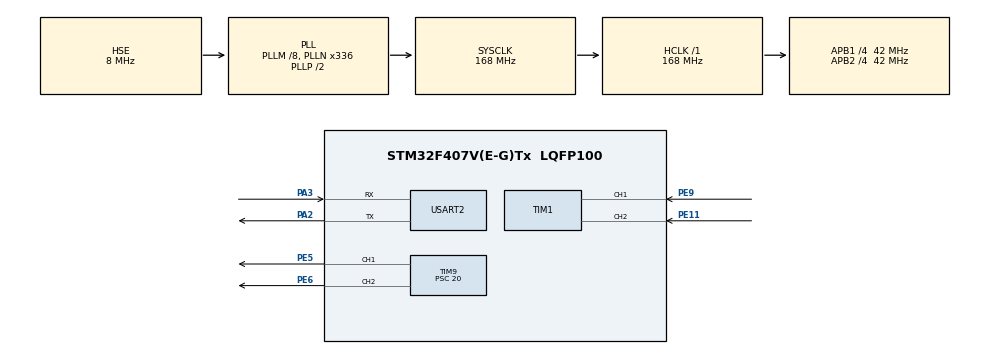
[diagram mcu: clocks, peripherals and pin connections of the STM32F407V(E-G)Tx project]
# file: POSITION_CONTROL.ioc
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Dma.Request0=USART2_TX
Dma.USART2_TX.0.Direction=DMA_MEMORY_TO_PERIPH
Dma.USART2_TX.0.FIFOMode=DMA_FIFOMODE_DISABLE
Dma.USART2_TX.0.Instance=DMA1_Stream6
Dma.USART2_TX.0.MemDataAlignment=DMA_MDATAALIGN_BYTE
Dma.USART2_TX.0.MemInc=DMA_MINC_ENABLE
Dma.USART2_TX.0.Mode=DMA_NORMAL
Dma.USART2_TX.0.PeriphDataAlignment=DMA_PDATAALIGN_BYTE
Dma.USART2_TX.0.PeriphInc=DMA_PINC_DISABLE
Dma.USART2_TX.0.Priority=DMA_PRIORITY_LOW
Mcu.Family=STM32F4
Mcu.Name=STM32F407V(E-G)Tx
Mcu.Package=LQFP100
NVIC.DMA1_Stream6_IRQn=true\:0\:0\:false\:false\:true\:false\:true
NVIC.PriorityGroup=NVIC_PRIORITYGROUP_4
NVIC.TIM3_IRQn=true\:0\:0\:true\:false\:true\:true\:true
NVIC.USART2_IRQn=true\:1\:0\:true\:false\:true\:true\:true
PA13.Mode=Serial_Wire
PA13.Signal=SYS_JTMS-SWDIO
PA14.Mode=Serial_Wire
PA14.Signal=SYS_JTCK-SWCLK
PA2.Mode=Asynchronous
PA2.Signal=USART2_TX
PA3.Mode=Asynchronous
PA3.Signal=USART2_RX
PE11.Signal=S_TIM1_CH2
PE5.Signal=S_TIM9_CH1
PE6.Signal=S_TIM9_CH2
PE9.Signal=S_TIM1_CH1
PH0-OSC_IN.Mode=HSE-External-Oscillator
PH0-OSC_IN.Signal=RCC_OSC_IN
PH1-OSC_OUT.Mode=HSE-External-Oscillator
PH1-OSC_OUT.Signal=RCC_OSC_OUT
ProjectManager.HeapSize=0x200
ProjectManager.StackSize=0x400
ProjectManager.TargetToolchain=MDK-ARM V5.27
RCC.48MHZClocksFreq_Value=84000000
RCC.AHBFreq_Value=168000000
RCC.APB1CLKDivider=RCC_HCLK_DIV4
RCC.APB1Freq_Value=42000000
RCC.APB1TimFreq_Value=84000000
RCC.APB2CLKDivider=RCC_HCLK_DIV4
RCC.APB2Freq_Value=42000000
RCC.APB2TimFreq_Value=84000000
RCC.CortexFreq_Value=168000000
RCC.HCLKFreq_Value=168000000
RCC.HSE_VALUE=8000000
RCC.HSI_VALUE=16000000
RCC.LSE_VALUE=32768
RCC.PLLM=8
RCC.PLLN=336
RCC.PLLSourceVirtual=RCC_PLLSOURCE_HSE
RCC.SYSCLKFreq_VALUE=168000000
RCC.SYSCLKSource=RCC_SYSCLKSOURCE_PLLCLK
RCC.VCOOutputFreq_Value=336000000
SH.S_TIM1_CH1.0=TIM1_CH1,Encoder_Interface
SH.S_TIM1_CH2.0=TIM1_CH2,Encoder_Interface
SH.S_TIM9_CH1.0=TIM9_CH1,PWM Generation1 CH1
SH.S_TIM9_CH2.0=TIM9_CH2,PWM Generation2 CH2
TIM1.EncoderMode=TIM_ENCODERMODE_TI12
TIM3.Period=2999
TIM3.Prescaler=839
TIM9.Channel-PWM\ Generation1\ CH1=TIM_CHANNEL_1
TIM9.Channel-PWM\ Generation2\ CH2=TIM_CHANNEL_2
TIM9.Period=999
TIM9.Prescaler=20
USART2.VirtualMode=VM_ASYNC
VP_TIM3_VS_ClockSourceINT.Mode=Internal
board=custom

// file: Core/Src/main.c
/* USER CODE BEGIN Header */
/**
  ******************************************************************************
  * @file           : main.c
  * @brief          : Main program body
  ******************************************************************************
  * @attention
  *
  * <h2><center>&copy; Copyright (c) 2021 STMicroelectronics.
  * All rights reserved.</center></h2>
  *
  * This software component is licensed by ST under BSD 3-Clause license,
  * the "License"; You may not use this file except in compliance with the
  * License. You may obtain a copy of the License at:
  *                        opensource.org/licenses/BSD-3-Clause
  *
  ******************************************************************************
  */
/* USER CODE END Header */
#include "main.h"

/* USER CODE BEGIN Includes */
#include <stdio.h>
#include <stdint.h>
#include <string.h>
/* USER CODE END Includes */

/* USER CODE BEGIN PTD */
typedef struct {
	float Kp;
	float Ki;
	float Kd;
	float ek_1;
	float I_part;
} PID_t;  //pid struct

enum
{
     ModeIdle = 0, //sleep
     ModePidPos,  //Pid vá»‹ trÃ­
	 ModePPR      //Ä‘o Ä‘á»™ phÃ¢n giáº£i
}ModeEnum;
uint8_t ProcessMode = ModeIdle; //gÃ¡n tráº¡ng thÃ¡i ngá»§ Ä‘áº§u chÆ°Æ¡ng trÃ¬nh
/* USER CODE END PTD */

/* USER CODE BEGIN PD */
#define Ts 0.03f
#define DUTY_50 150 //DUTY FOR GET PPR
#define T_60S 2000
/* USER CODE END PD */

TIM_HandleTypeDef htim1;
TIM_HandleTypeDef htim3;
TIM_HandleTypeDef htim9;

UART_HandleTypeDef huart2;
DMA_HandleTypeDef hdma_usart2_tx;

/* USER CODE BEGIN PV */
PID_t ParaPID;
int32_t EncPos;
int32_t tempPos;
float speed[2];
float u_control;
float setpoint;

char ProcessFlag = 0;
char TXData[40];
char RXData_Buff[40];
uint8_t RXData;
uint8_t RXIndex = 0;
uint8_t SysQuest = 5; //Start = 0, Stop = 1, Reset = 2
uint8_t Temp;
uint16_t rpm = 1;
uint16_t ppr = 1;
char PPRFlag =0;// Flag for get PPR
uint16_t count_60s = 0;// time check ppr
uint8_t EncMode;

/* USER CODE END PV */

void SystemClock_Config(void);
static void MX_GPIO_Init(void);
static void MX_TIM1_Init(void);
static void MX_TIM3_Init(void);
static void MX_TIM9_Init(void);
static void MX_DMA_Init(void);
static void MX_USART2_UART_Init(void);
/* USER CODE BEGIN PFP */
void init_Encx1(void);
void init_Encx4(void);
/* USER CODE END PFP */

/* USER CODE BEGIN 0 */

void read_encoder()
{
	tempPos = (int16_t)(htim1.Instance->CNT);
	EncPos += tempPos;
	htim1.Instance->CNT=0;
}

void GetPPR(uint16_t local_rpm, uint16_t *p_ppr)
{
	u_control = 1;
	if(count_60s == T_60S)
	{
		*p_ppr = EncPos/local_rpm;
		count_60s = 0;
		PPRFlag = 1;
		EncPos = 0;
	}
}

void HAL_TIM_PeriodElapsedCallback(TIM_HandleTypeDef *htim)
{

	if(htim->Instance == TIM3)
	{
		read_encoder();
		ProcessFlag=1;
		if(count_60s < T_60S) count_60s +=1;
	}
}

void PID_controller(float SP, float PV, PID_t *pid, float *u)
{
	float ek;
	ek = SP - PV;
	pid->I_part += Ts*ek;
	*u = pid->Kp*ek + pid->Ki*pid->I_part + pid->Kd*(ek-pid->ek_1)/Ts;
	pid->ek_1 = ek;
}

void xuat_PWM(float duty);

void process_RXData(void)
{
	if(RXData_Buff[0] == '0')
	{
			sscanf(RXData_Buff, "%u %u %u", &Temp, &SysQuest, &ProcessMode);
		if (SysQuest == 0)
		{

		}
		if (SysQuest == 1)
		{
			EncPos = 0;
			u_control = 0;

		}

		if (SysQuest == 2)
		{
			memset(&ParaPID, 0, sizeof(PID_t));
			memset(speed, 0, strlen(TXData));
			setpoint = 0;
			EncPos = 0;
			u_control = 0;
		}
	}

	if(RXData_Buff[0] == '1')
	{
		sscanf(RXData_Buff, "%u %f %f %f %f", &Temp, &ParaPID.Kp, &ParaPID.Ki, &ParaPID.Kd, &setpoint);
  		sprintf(TXData, "%u %.2f %.4f %.2f %.2f\n", 2, ParaPID.Kp, ParaPID.Ki, ParaPID.Kd, setpoint);
		HAL_UART_Transmit_DMA(&huart2, (uint8_t *)TXData, strlen(TXData));
	}
	if(RXData_Buff[0] == '2')
	{
		sscanf(RXData_Buff, "%u %u %u %u", &Temp, &rpm, &ppr, &ProcessMode);
		sprintf(TXData, "%u\n", 3);
		HAL_UART_Transmit_DMA(&huart2, (uint8_t *)TXData, strlen(TXData));
		EncPos = 0;
	}
	if(RXData_Buff[0] == '3')
		{
			sscanf(RXData_Buff, "%u %u %u", &Temp, &EncMode, &ProcessMode);
			if( EncMode == 1)
			{
				sprintf(TXData, "%u\n", 4);
				HAL_UART_Transmit_DMA(&huart2, (uint8_t *)TXData, strlen(TXData));
				init_Encx1();// code for func Encx1
			}
			if( EncMode == 4)
			{
				sprintf(TXData, "%u\n", 5);
				HAL_UART_Transmit_DMA(&huart2, (uint8_t *)TXData, strlen(TXData));
				init_Encx4();// code for func Encx4

			}
		}

//	if(TXData[strlen(TXData)-1] == '\n')
//		{
//		memset(TXData, 0, 20);
//		}

}

void HAL_UART_RxCpltCallback(UART_HandleTypeDef *huart)
{
	if(huart->Instance == huart2.Instance)
	{
		if(RXData != '\n') //line feed Ascii
		{
			RXData_Buff[RXIndex++] = RXData; //Save data in Rxbuff
		}
		else if (RXData == '\n')
		{
			RXIndex = 0;
			process_RXData();

		}
		HAL_UART_Receive_IT(&huart2, &RXData, 1);
	}
}

/* USER CODE END 0 */

int main(void)
{

  /* MCU Configuration--------------------------------------------------------*/

  /* Reset of all peripherals, Initializes the Flash interface and the Systick. */
  HAL_Init();

  /* Configure the system clock */
  SystemClock_Config();

  /* Initialize all configured peripherals */
  MX_GPIO_Init();
  MX_TIM1_Init();
  MX_TIM3_Init();
  MX_TIM9_Init();
  MX_DMA_Init();
  MX_USART2_UART_Init();
  /* USER CODE BEGIN 2 */
	HAL_TIM_Base_Start_IT(&htim3);
	HAL_TIM_Encoder_Start(&htim1, TIM_CHANNEL_1 | TIM_CHANNEL_2);
	HAL_TIM_PWM_Start(&htim9, TIM_CHANNEL_1);
	HAL_TIM_PWM_Start(&htim9, TIM_CHANNEL_2);
	HAL_UART_Receive_IT(&huart2, &RXData, 1);

  /* USER CODE END 2 */

  /* Infinite loop */
  while (1)
  {

    /* USER CODE BEGIN 3 */
		xuat_PWM(u_control);
	  if (ProcessFlag)
		  {
			  ProcessFlag = 0;
			  switch(ProcessMode)
			  {
				  case ModeIdle:
					u_control = 0;
					  break;
				  case ModePidPos:
					  PID_controller(setpoint,((float)EncPos/ppr*360),&ParaPID, &u_control);
					  sprintf(TXData, "%u %.1f %.2f\n", 0, ((float)EncPos/ppr*360), u_control);
						HAL_UART_Transmit_DMA(&huart2, (uint8_t *)TXData, strlen(TXData));
					  break;
				  case ModePPR:
					  if(ppr == 0)
					  {
					  	GetPPR(rpm, &ppr);
					  	if(PPRFlag)
					  	{
					  		sprintf(TXData, "%u %u\n", 1, ppr);
							HAL_UART_Transmit_DMA(&huart2, (uint8_t *)TXData, strlen(TXData));
					  		PPRFlag = 0;
					  		ProcessMode = ModeIdle;
							EncPos = 0;
					  	}
					  }
					  break;
			  }
		  }
  }
  /* USER CODE END 3 */
}

void SystemClock_Config(void)
{
  RCC_OscInitTypeDef RCC_OscInitStruct = {0};
  RCC_ClkInitTypeDef RCC_ClkInitStruct = {0};

  /** Configure the main internal regulator output voltage
  */
  __HAL_RCC_PWR_CLK_ENABLE();
  __HAL_PWR_VOLTAGESCALING_CONFIG(PWR_REGULATOR_VOLTAGE_SCALE1);
  /** Initializes the RCC Oscillators according to the specified parameters
  * in the RCC_OscInitTypeDef structure.
  */
  RCC_OscInitStruct.OscillatorType = RCC_OSCILLATORTYPE_HSE;
  RCC_OscInitStruct.HSEState = RCC_HSE_ON;
  RCC_OscInitStruct.PLL.PLLState = RCC_PLL_ON;
  RCC_OscInitStruct.PLL.PLLSource = RCC_PLLSOURCE_HSE;
  RCC_OscInitStruct.PLL.PLLM = 8;
  RCC_OscInitStruct.PLL.PLLN = 336;
  RCC_OscInitStruct.PLL.PLLP = RCC_PLLP_DIV2;
  RCC_OscInitStruct.PLL.PLLQ = 4;
  if (HAL_RCC_OscConfig(&RCC_OscInitStruct) != HAL_OK)
  {
    Error_Handler();
  }
  /** Initializes the CPU, AHB and APB buses clocks
  */
  RCC_ClkInitStruct.ClockType = RCC_CLOCKTYPE_HCLK|RCC_CLOCKTYPE_SYSCLK
                              |RCC_CLOCKTYPE_PCLK1|RCC_CLOCKTYPE_PCLK2;
  RCC_ClkInitStruct.SYSCLKSource = RCC_SYSCLKSOURCE_PLLCLK;
  RCC_ClkInitStruct.AHBCLKDivider = RCC_SYSCLK_DIV1;
  RCC_ClkInitStruct.APB1CLKDivider = RCC_HCLK_DIV4;
  RCC_ClkInitStruct.APB2CLKDivider = RCC_HCLK_DIV4;

  if (HAL_RCC_ClockConfig(&RCC_ClkInitStruct, FLASH_LATENCY_5) != HAL_OK)
  {
    Error_Handler();
  }
}

static void MX_TIM1_Init(void)
{

  TIM_Encoder_InitTypeDef sConfig = {0};
  TIM_MasterConfigTypeDef sMasterConfig = {0};

  htim1.Instance = TIM1;
  htim1.Init.Prescaler = 0;
  htim1.Init.CounterMode = TIM_COUNTERMODE_UP;
  htim1.Init.Period = 65535;
  htim1.Init.ClockDivision = TIM_CLOCKDIVISION_DIV1;
  htim1.Init.RepetitionCounter = 0;
  htim1.Init.AutoReloadPreload = TIM_AUTORELOAD_PRELOAD_DISABLE;
  sConfig.EncoderMode = TIM_ENCODERMODE_TI12;
  sConfig.IC1Polarity = TIM_ICPOLARITY_RISING;
  sConfig.IC1Selection = TIM_ICSELECTION_DIRECTTI;
  sConfig.IC1Prescaler = TIM_ICPSC_DIV1;
  sConfig.IC1Filter = 0;
  sConfig.IC2Polarity = TIM_ICPOLARITY_RISING;
  sConfig.IC2Selection = TIM_ICSELECTION_DIRECTTI;
  sConfig.IC2Prescaler = TIM_ICPSC_DIV1;
  sConfig.IC2Filter = 0;
  if (HAL_TIM_Encoder_Init(&htim1, &sConfig) != HAL_OK)
  {
    Error_Handler();
  }
  sMasterConfig.MasterOutputTrigger = TIM_TRGO_RESET;
  sMasterConfig.MasterSlaveMode = TIM_MASTERSLAVEMODE_DISABLE;
  if (HAL_TIMEx_MasterConfigSynchronization(&htim1, &sMasterConfig) != HAL_OK)
  {
    Error_Handler();
  }

}

static void MX_TIM3_Init(void)
{

  TIM_ClockConfigTypeDef sClockSourceConfig = {0};
  TIM_MasterConfigTypeDef sMasterConfig = {0};

  htim3.Instance = TIM3;
  htim3.Init.Prescaler = 839;
  htim3.Init.CounterMode = TIM_COUNTERMODE_UP;
  htim3.Init.Period = 2999;
  htim3.Init.ClockDivision = TIM_CLOCKDIVISION_DIV1;
  htim3.Init.AutoReloadPreload = TIM_AUTORELOAD_PRELOAD_DISABLE;
  if (HAL_TIM_Base_Init(&htim3) != HAL_OK)
  {
    Error_Handler();
  }
  sClockSourceConfig.ClockSource = TIM_CLOCKSOURCE_INTERNAL;
  if (HAL_TIM_ConfigClockSource(&htim3, &sClockSourceConfig) != HAL_OK)
  {
    Error_Handler();
  }
  sMasterConfig.MasterOutputTrigger = TIM_TRGO_RESET;
  sMasterConfig.MasterSlaveMode = TIM_MASTERSLAVEMODE_DISABLE;
  if (HAL_TIMEx_MasterConfigSynchronization(&htim3, &sMasterConfig) != HAL_OK)
  {
    Error_Handler();
  }

}

static void MX_TIM9_Init(void)
{

  TIM_OC_InitTypeDef sConfigOC = {0};

  htim9.Instance = TIM9;
  htim9.Init.Prescaler = 14;
  htim9.Init.CounterMode = TIM_COUNTERMODE_UP;
  htim9.Init.Period = 999;
  htim9.Init.ClockDivision = TIM_CLOCKDIVISION_DIV1;
  htim9.Init.AutoReloadPreload = TIM_AUTORELOAD_PRELOAD_DISABLE;
  if (HAL_TIM_PWM_Init(&htim9) != HAL_OK)
  {
    Error_Handler();
  }
  sConfigOC.OCMode = TIM_OCMODE_PWM1;
  sConfigOC.Pulse = 0;
  sConfigOC.OCPolarity = TIM_OCPOLARITY_HIGH;
  sConfigOC.OCFastMode = TIM_OCFAST_DISABLE;
  if (HAL_TIM_PWM_ConfigChannel(&htim9, &sConfigOC, TIM_CHANNEL_1) != HAL_OK)
  {
    Error_Handler();
  }
  if (HAL_TIM_PWM_ConfigChannel(&htim9, &sConfigOC, TIM_CHANNEL_2) != HAL_OK)
  {
    Error_Handler();
  }
  HAL_TIM_MspPostInit(&htim9);

}

static void MX_USART2_UART_Init(void)
{

  huart2.Instance = USART2;
  huart2.Init.BaudRate = 115200;
  huart2.Init.WordLength = UART_WORDLENGTH_8B;
  huart2.Init.StopBits = UART_STOPBITS_1;
  huart2.Init.Parity = UART_PARITY_NONE;
  huart2.Init.Mode = UART_MODE_TX_RX;
  huart2.Init.HwFlowCtl = UART_HWCONTROL_NONE;
  huart2.Init.OverSampling = UART_OVERSAMPLING_16;
  if (HAL_UART_Init(&huart2) != HAL_OK)
  {
    Error_Handler();
  }

}

static void MX_DMA_Init(void)
{

  /* DMA controller clock enable */
  __HAL_RCC_DMA1_CLK_ENABLE();

  /* DMA interrupt init */
  /* DMA1_Stream6_IRQn interrupt configuration */
  HAL_NVIC_SetPriority(DMA1_Stream6_IRQn, 0, 0);
  HAL_NVIC_EnableIRQ(DMA1_Stream6_IRQn);

}

static void MX_GPIO_Init(void)
{

  /* GPIO Ports Clock Enable */
  __HAL_RCC_GPIOE_CLK_ENABLE();
  __HAL_RCC_GPIOH_CLK_ENABLE();
  __HAL_RCC_GPIOA_CLK_ENABLE();

}

/* USER CODE BEGIN 4 */
	void xuat_PWM(float duty)  //use timer 9 to export PWM, 50KHz
	{
		if (duty > 1) duty = 1;
		else if(duty ==0)  duty =0;
		else if (duty < -1) duty = -1;
		int16_t pwm = duty*500;
		if (pwm>0)
			{
				HAL_GPIO_WritePin(GPIOE, GPIO_PIN_5, GPIO_PIN_RESET);
				__HAL_TIM_SetCompare(&htim9, TIM_CHANNEL_2, pwm);
			}
		else if (pwm == 0)
			{
				__HAL_TIM_SetCompare(&htim9, TIM_CHANNEL_1, 0);
				__HAL_TIM_SetCompare(&htim9, TIM_CHANNEL_2, 0);
			}
		else if (pwm < 0)
			{
				pwm *= -1;
				__HAL_TIM_SetCompare(&htim9, TIM_CHANNEL_1, pwm);
				HAL_GPIO_WritePin(GPIOE, GPIO_PIN_6, GPIO_PIN_RESET);
			}
	}

	void init_Encx4 (void )
	{

  TIM_Encoder_InitTypeDef sConfig = {0};
  TIM_MasterConfigTypeDef sMasterConfig = {0};

  htim1.Instance = TIM1;
  htim1.Init.Prescaler = 0;
  htim1.Init.CounterMode = TIM_COUNTERMODE_UP;
  htim1.Init.Period = 65535;
  htim1.Init.ClockDivision = TIM_CLOCKDIVISION_DIV1;
  htim1.Init.RepetitionCounter = 0;
  htim1.Init.AutoReloadPreload = TIM_AUTORELOAD_PRELOAD_DISABLE;
  sConfig.EncoderMode = TIM_ENCODERMODE_TI12;
  sConfig.IC1Polarity = TIM_ICPOLARITY_RISING;
  sConfig.IC1Selection = TIM_ICSELECTION_DIRECTTI;
  sConfig.IC1Prescaler = TIM_ICPSC_DIV1;
  sConfig.IC1Filter = 0;
  sConfig.IC2Polarity = TIM_ICPOLARITY_RISING;
  sConfig.IC2Selection = TIM_ICSELECTION_DIRECTTI;
  sConfig.IC2Prescaler = TIM_ICPSC_DIV1;
  sConfig.IC2Filter = 0;
  if (HAL_TIM_Encoder_Init(&htim1, &sConfig) != HAL_OK)
  {
    Error_Handler();
  }
  sMasterConfig.MasterOutputTrigger = TIM_TRGO_RESET;
  sMasterConfig.MasterSlaveMode = TIM_MASTERSLAVEMODE_DISABLE;
  if (HAL_TIMEx_MasterConfigSynchronization(&htim1, &sMasterConfig) != HAL_OK)
  {
    Error_Handler();
  }

	}

	void init_Encx1(void)
	{

			TIM_Encoder_InitTypeDef sConfig = {0};
			TIM_MasterConfigTypeDef sMasterConfig = {0};
	htim1.Instance = TIM1;
	htim1.Init.Prescaler = 1;
	htim1.Init.CounterMode = TIM_COUNTERMODE_UP;
	htim1.Init.Period = 65535;
	htim1.Init.ClockDivision = TIM_CLOCKDIVISION_DIV1;
	htim1.Init.RepetitionCounter = 0;
	htim1.Init.AutoReloadPreload = TIM_AUTORELOAD_PRELOAD_DISABLE;
	sConfig.EncoderMode = TIM_ENCODERMODE_TI1;
	sConfig.IC1Polarity = TIM_ICPOLARITY_RISING ;
	sConfig.IC1Selection = TIM_ICSELECTION_DIRECTTI;
	sConfig.IC1Prescaler = TIM_ICPSC_DIV1;
	sConfig.IC1Filter = 0;
	sConfig.IC2Polarity = TIM_ICPOLARITY_RISING;
	sConfig.IC2Selection = TIM_ICSELECTION_DIRECTTI;
	sConfig.IC2Prescaler = TIM_ICPSC_DIV1;
	sConfig.IC2Filter = 0;
  if (HAL_TIM_Encoder_Init(&htim1, &sConfig) != HAL_OK)
  {
    Error_Handler();
  }
  sMasterConfig.MasterOutputTrigger = TIM_TRGO_RESET;
  sMasterConfig.MasterSlaveMode = TIM_MASTERSLAVEMODE_DISABLE;
  if (HAL_TIMEx_MasterConfigSynchronization(&htim1, &sMasterConfig) != HAL_OK)
  {
    Error_Handler();
  }

	}

/* USER CODE END 4 */

void Error_Handler(void)
{
  __disable_irq();
  while (1)
  {
  }
}

/************************ (C) COPYRIGHT STMicroelectronics *****END OF FILE****/
